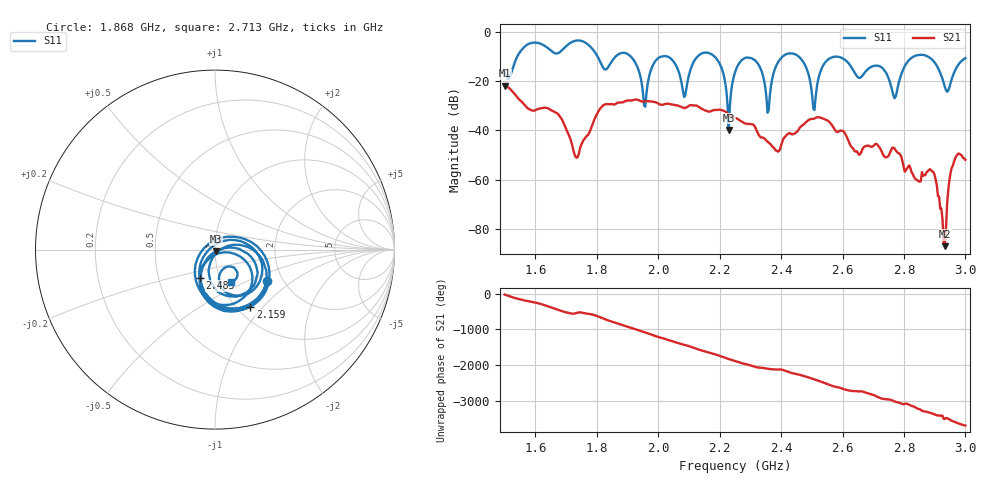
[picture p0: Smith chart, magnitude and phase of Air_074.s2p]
# HZ S RI R 50
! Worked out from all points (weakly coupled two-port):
!   404 points, 1.5 GHz to 3 GHz, reference 50 ohm
!   highest |S21| = -21.91 dB at 1.5 GHz (marker M1); lowest = -86.9 dB at 2.933 GHz (marker M2)
!   lowest |S11| = -39.9 dB at 2.23 GHz (marker M3), VSWR 1.02, Z = 50.5 - j0.903 ohm
!   |S11| at or under -10 dB: 2.182 GHz to 2.406 GHz (224.2 MHz wide, 9.77 % of centre); 2.456 GHz to 2.834 GHz (377.9 MHz wide, 14.3 % of centre); 2.875 GHz to end of sweep (the widest 3 of 7)
!   S12 and S22 are empty: the file has one direction only
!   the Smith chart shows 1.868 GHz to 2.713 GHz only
!   S11 on the Smith chart (normalised r, x): 1.868 GHz: 1.67, -0.65; 2.159 GHz: 1.15, -0.85; 2.483 GHz: 0.80, -0.26; 2.713 GHz: 1.11, -0.43
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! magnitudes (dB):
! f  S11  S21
! 1.5 GHz  -16.4  -21.9
! 1.582 GHz  -4.8  -31.6
! 1.753 GHz  -3.9  -44.9
! 1.868 GHz  -9.4  -28.8
! 1.958 GHz  -30.5  -28.2
! 2.002 GHz  -10.6  -29.3
! 2.084 GHz  -26.5  -31.0
! 2.159 GHz  -8.5  -32.2
! 2.23 GHz  -39.9  -33.5
! 2.252 GHz  -15.9  -35.0
! 2.315 GHz  -11.7  -38.6
! 2.356 GHz  -32.9  -44.7
! 2.408 GHz  -9.8  -43.3
! 2.483 GHz  -14.9  -36.6
! 2.501 GHz  -26.0  -35.4
! 2.561 GHz  -10.7  -37.2
! 2.713 GHz  -13.8  -45.8
! 2.751 GHz  -19.2  -50.3
! 2.892 GHz  -11.4  -56.7
! 2.933 GHz  -22.3  -86.9
! 2.959 GHz  -18.0  -54.4
! 3 GHz  -10.8  -52.0
